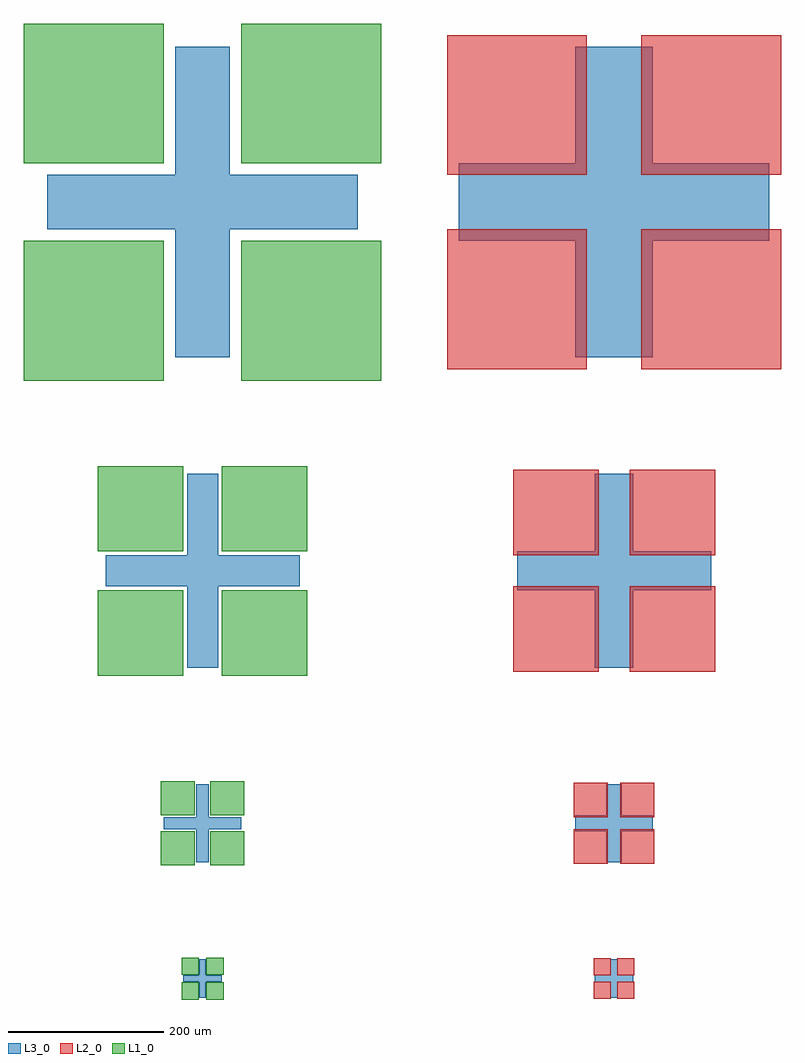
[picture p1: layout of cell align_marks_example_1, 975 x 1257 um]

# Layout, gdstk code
import gdstk
lib = gdstk.Library(unit=1e-6, precision=1e-09)
def R(c, l, rs):  # rectangles x0, y0, x1, y1
    for r in rs: c.add(gdstk.rectangle(r[:2], r[2:], *l))
L1_0 = (1, 0)
L2_0 = (2, 0)
L3_0 = (3, 0)

clear_layer_mark = lib.new_cell('clear_layer_mark')
R(clear_layer_mark, L2_0, [(189,-1241,211,-1219), (219,-1241,241,-1219), (189,-1211,211,-1189), (219,-1211,241,-1189), (163,-1067,207,-1023), (223,-1067,267,-1023), (163,-1007,207,-963), (223,-1007,267,-963), (85,-820,195,-710), (235,-820,345,-710), (85,-670,195,-560), (235,-670,345,-560), (0,-430,180,-250), (250,-430,430,-250), (0,-180,180,0), (250,-180,430,0)])

dark_layer_mark = lib.new_cell('dark_layer_mark')
R(dark_layer_mark, L3_0, [(741,-1240,749,-1190), (720,-1219,770,-1211), (737,-1065,753,-965), (695,-1023,795,-1007), (725,-815,765,-565), (620,-710,870,-670), (710,-415,780,-15), (545,-250,945,-180)])

base_for_dark_mark = lib.new_cell('base_for_dark_mark')
R(base_for_dark_mark, L1_0, [(718,-1242,740,-1220), (750,-1242,772,-1220), (718,-1210,740,-1188), (750,-1210,772,-1188), (691,-1069,735,-1025), (755,-1069,799,-1025), (691,-1005,735,-961), (755,-1005,799,-961), (610,-825,720,-715), (770,-825,880,-715), (610,-665,720,-555), (770,-665,880,-555), (515,-445,695,-265), (795,-445,975,-265), (515,-165,695,15), (795,-165,975,15)])

align_marks_example_1 = lib.new_cell('align_marks_example_1')
R(align_marks_example_1, L3_0, [(527.85,-626.1,537.85,-576.1), (507.85,-606.1,557.85,-596.1), (522.85,-451.1,542.85,-351.1), (482.85,-411.1,582.85,-391.1), (507.85,-201.1,557.85,48.9), (407.85,-101.1,657.85,-51.1), (482.85,198.9,582.85,598.9), (332.85,348.9,732.85,448.9)])
align_marks_example_1.add(gdstk.Reference(clear_layer_mark, (317.85,613.9)))
align_marks_example_1.add(gdstk.Reference(dark_layer_mark, (-742.15,613.9)))
align_marks_example_1.add(gdstk.Reference(base_for_dark_mark, (-742.15,613.9)))

lib.write_gds('align_marks_example_1.gds')
